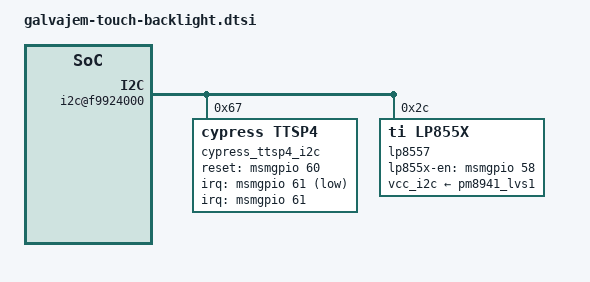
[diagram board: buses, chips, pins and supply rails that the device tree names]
/*
 * Copyright (c) 2012-2013, The Linux Foundation. All rights reserved.
 *
 * This program is free software; you can redistribute it and/or modify
 * it under the terms of the GNU General Public License version 2 and
 * only version 2 as published by the Free Software Foundation.
 *
 * This program is distributed in the hope that it will be useful,
 * but WITHOUT ANY WARRANTY; without even the implied warranty of
 * MERCHANTABILITY or FITNESS FOR A PARTICULAR PURPOSE.  See the
 * GNU General Public License for more details.
 */

/include/ "skeleton.dtsi"

/ {
	i2c@f9924000 {
		cell-index = <2>;
		compatible = "qcom,i2c-qup";
		reg = <0xf9924000 0x1000>;
		#address-cells = <1>;
		#size-cells = <0>;
		reg-names = "qup_phys_addr";
		interrupts = <0 96 0>;
		interrupt-names = "qup_err_intr";
		qcom,i2c-bus-freq = <400000>;
		qcom,i2c-src-freq = <19200000>;
	};
		
	i2c@f9924000 {
		cypress_ttsp4_i2c@67 {
			compatible = "cypress,ttsp4";
			reg = <0x67>;
			interrupt-parent = <&msmgpio>;
			interrupts = <61 0x2>;
			cypress,reset-gpio = <&msmgpio 60 0x00>;
			cypress,irq-gpio = <&msmgpio 61 0x01>;
		};
	};
		

	i2c@f9924000 {			
		lp8557@2C  {
			compatible = "ti,lp855x";
			vcc_i2c-supply = <&pm8941_lvs1>;
			reg = <0x2C>;
			ti,lp855x-en-gpio = <&msmgpio 58 0x00>;
			ti,lp855x-device-control = <65>;
			ti,lp855x-mode = <2>;
			ti,lp855x-initial-brightness = <0x65>;
			ti,lp855x-load-new-rom-data = <1>;
			ti,lp855x-size-program = <2>;
			ti,lp855x-rom-data = <0x14 0xCF>;
		};	
	};
};
